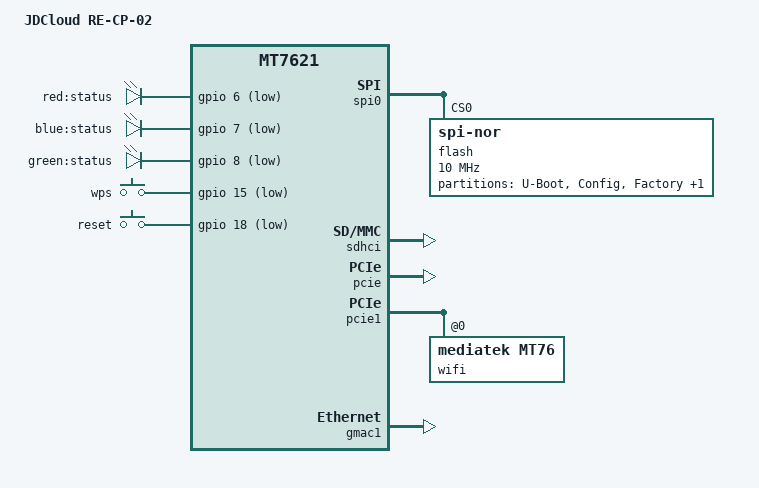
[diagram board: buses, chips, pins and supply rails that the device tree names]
// SPDX-License-Identifier: GPL-2.0-or-later

#include "mt7621.dtsi"

#include <dt-bindings/gpio/gpio.h>
#include <dt-bindings/input/input.h>

/ {
	compatible = "jdcloud,re-cp-02", "mediatek,mt7621-soc";
	model = "JDCloud RE-CP-02";

	aliases {
		label-mac-device = &gmac0;
		led-boot = &led_status_blue;
		led-failsafe = &led_status_red;
		led-running = &led_status_green;
		led-upgrade = &led_status_blue;
	};

	chosen {
		bootargs = "console=ttyS0,115200n8";
	};

	leds {
		compatible = "gpio-leds";

		led_status_red: red {
			label = "red:status";
			gpios = <&gpio 6 GPIO_ACTIVE_LOW>;
		};

		led_status_blue: blue {
			label = "blue:status";
			gpios = <&gpio 7 GPIO_ACTIVE_LOW>;
		};

		led_status_green: green {
			label = "green:status";
			gpios = <&gpio 8 GPIO_ACTIVE_LOW>;
		};
	};

	keys {
		compatible = "gpio-keys";

		wps {
			label = "wps";
			gpios = <&gpio 15 GPIO_ACTIVE_LOW>;
			linux,code = <KEY_WPS_BUTTON>;
		};

		reset {
			label = "reset";
			gpios = <&gpio 18 GPIO_ACTIVE_LOW>;
			linux,code = <KEY_RESTART>;
		};
	};
};

&spi0 {
	status = "okay";

	flash@0 {
		compatible = "jedec,spi-nor";
		reg = <0>;
		spi-max-frequency = <10000000>;

		partitions {
			compatible = "fixed-partitions";
			#address-cells = <1>;
			#size-cells = <1>;

			partition@0 {
				label = "U-Boot";
				reg = <0x0 0x40000>;
				read-only;
			};

			partition@40000 {
				compatible = "u-boot,env";
				label = "Config";
				reg = <0x40000 0x10000>;
			};

			factory: partition@50000 {
				label = "Factory";
				reg = <0x50000 0x40000>;
				read-only;
			};

			partition@90000 {
				compatible = "denx,uimage";
				label = "firmware";
				reg = <0x90000 0xf70000>;
			};
		};
	};
};

&state_default {
	gpio {
		groups = "uart3", "jtag", "wdt";
		function = "gpio";
	};
};

&sdhci {
	status = "okay";
};

&pcie {
	status = "okay";
};

&pcie1 {
	wifi@0,0 {
		compatible = "mediatek,mt76";
		reg = <0x0000 0 0 0 0>;
		mediatek,mtd-eeprom = <&factory 0x0>;
		mediatek,disable-radar-background;
	};
};

&gmac0 {
	mtd-mac-address = <&factory 0x3fff4>;
};

&gmac1 {
	mtd-mac-address = <&factory 0x3fffa>;
	status = "okay";
};

&switch0 {
	ports {
		port@1 {
			status = "okay";
			label = "lan1";
		};

		port@2 {
			status = "okay";
			label = "lan2";
		};

		port@3 {
			status = "okay";
			label = "lan3";
		};

		port@4 {
			status = "okay";
			label = "wan";
			mtd-mac-address = <&factory 0x3fffa>;
		};
	};
};

&xhci {
	status = "disabled";
};
